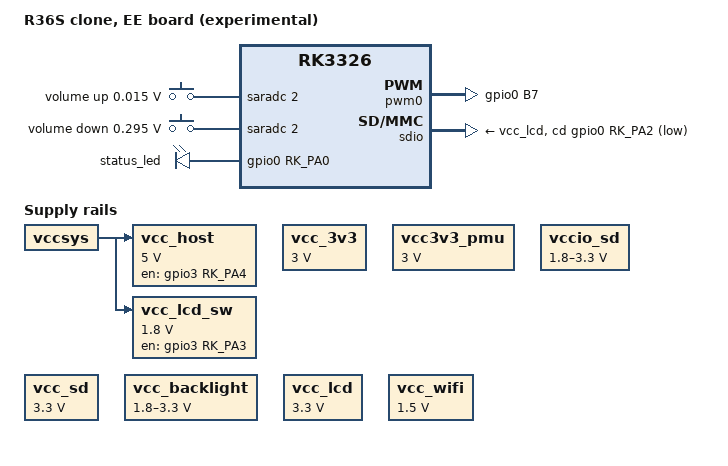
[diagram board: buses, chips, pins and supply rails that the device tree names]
// SPDX-License-Identifier: (GPL-2.0+ OR MIT)
/*
 * EXPERIMENTAL - not tested on hardware by andr36oid.
 *
 * Common part of the "EE clone" R36S boards: the clones that ship with
 * EmuELEC 4.7 (Linux 4.4 BSP) on the card, e.g. G80C/G80CA/G80D, K36,
 * HG36, R36S-V12 "clone" variants, R36S-V20, GR36 / R36 Ultra.
 *
 * The wiring comes from the stock DTBs dumped from these consoles, cross
 * checked with the andr36oid ports by K4uanGP (Andr36oid-dtb-for-Clones)
 * and the ArkOS ports in southoz's dArkOSRE-R36.
 *
 * Board defaults here are the G80 wiring:
 *   analog stick mux enable  GPIO2_B3
 *   LCD reset                GPIO3_D3
 *   LCD power switch         GPIO3_A3
 * rk3326-r36s-clone-ee-k36.dtsi changes these for the K36/HG36 wiring.
 * A board DTS picks one of the two and adds a panel.
 */

#include "rk3326-r36s-android.dtsi"

/* Volume keys are on an ADC ladder (SARADC channel 2), not on GPIOs. */
/delete-node/ &gpio_keys;

/ {
	model = "R36S clone, EE board (experimental)";

	adc-keys {
		compatible = "adc-keys";
		io-channels = <&saradc 2>;
		io-channel-names = "buttons";
		keyup-threshold-microvolt = <1800000>;
		poll-interval = <100>;

		vol-up-key {
			label = "volume up";
			linux,code = <KEY_VOLUMEUP>;
			press-threshold-microvolt = <15000>;
		};

		vol-down-key {
			label = "volume down";
			linux,code = <KEY_VOLUMEDOWN>;
			press-threshold-microvolt = <295000>;
		};
	};

	/* 5 V for the USB host port */
	vcc_host: vcc-host {
		compatible = "regulator-fixed";
		regulator-name = "vcc_host";
		gpio = <&gpio3 RK_PA4 GPIO_ACTIVE_HIGH>;
		enable-active-high;
		regulator-always-on;
		regulator-min-microvolt = <5000000>;
		regulator-max-microvolt = <5000000>;
		vin-supply = <&vccsys>;
	};

	/* LCD logic supply, switched by a GPIO instead of RK817 LDO8 */
	vcc_lcd_sw: vcc-lcd-sw {
		compatible = "regulator-fixed";
		regulator-name = "vcc18_lcd0";
		gpio = <&gpio3 RK_PA3 GPIO_ACTIVE_HIGH>;
		enable-active-high;
		regulator-boot-on;
		regulator-min-microvolt = <1800000>;
		regulator-max-microvolt = <1800000>;
		vin-supply = <&vccsys>;

		regulator-state-mem {
			regulator-off-in-suspend;
		};
	};
};

&joypad {
	/*
	 * No rumble motor, so the gamepad doesn't offer rumble. pwms stays: the
	 * older joypad driver in the resizer and recovery kernels oopses when
	 * it is missing.
	 */
	andr36oid,no-rumble;
	amux-a-gpios = <&gpio2 RK_PC0 GPIO_ACTIVE_LOW>;
	amux-b-gpios = <&gpio2 RK_PB7 GPIO_ACTIVE_LOW>;
	amux-en-gpios = <&gpio2 RK_PB3 GPIO_ACTIVE_LOW>;
	/* the mux channels are wired in a different order than on the R36S */
	amux-channel-mapping = <2 3 1 0>;

	sw1 { gpios = <&gpio3 RK_PC6 GPIO_ACTIVE_LOW>; };	/* up */
	sw2 { gpios = <&gpio3 RK_PC7 GPIO_ACTIVE_LOW>; };	/* down */
	sw3 { gpios = <&gpio3 RK_PC4 GPIO_ACTIVE_LOW>; };	/* left */
	sw4 { gpios = <&gpio3 RK_PC5 GPIO_ACTIVE_LOW>; };	/* right */
	sw5 { gpios = <&gpio3 RK_PC0 GPIO_ACTIVE_LOW>; };	/* A */
	sw6 { gpios = <&gpio3 RK_PC1 GPIO_ACTIVE_LOW>; };	/* B */
	sw7 { gpios = <&gpio3 RK_PC3 GPIO_ACTIVE_LOW>; };	/* Y */
	sw8 { gpios = <&gpio3 RK_PC2 GPIO_ACTIVE_LOW>; };	/* X */
	sw11 { gpios = <&gpio2 RK_PB5 GPIO_ACTIVE_LOW>; };	/* L3 */
	sw12 { gpios = <&gpio2 RK_PB6 GPIO_ACTIVE_LOW>; };	/* R3 */
	sw13 { gpios = <&gpio3 RK_PB2 GPIO_ACTIVE_LOW>; };	/* FN */
	sw15 { gpios = <&gpio3 RK_PB5 GPIO_ACTIVE_LOW>; };	/* L1 */
	sw16 { gpios = <&gpio3 RK_PB3 GPIO_ACTIVE_LOW>; };	/* R1 */
	sw19 { gpios = <&gpio3 RK_PD0 GPIO_ACTIVE_LOW>; };	/* select */
	sw20 { gpios = <&gpio3 RK_PB4 GPIO_ACTIVE_LOW>; };	/* R2 */
	sw21 { gpios = <&gpio3 RK_PB6 GPIO_ACTIVE_LOW>; };	/* L2 */
	sw22 { gpios = <&gpio3 RK_PD1 GPIO_ACTIVE_LOW>; };	/* start */
};

/*
 * No rumble motor on the R36S rumble pin (GPIO0_B7) here, and stock turns
 * PWM0 off. The joypad driver still wants the PWM, so keep it running but
 * leave the pin a plain input.
 */
&pwm0 {
	pinctrl-0 = <&pwm0_pin_unused>;
};

&leds {
	/delete-node/ heartbeat;
	/delete-node/ vibrator;
};

/*
 * Blue on GPIO0_A0, red on GPIO0_C1, both lit is purple, both floating is
 * off (driving them low isn't). Was two gpio-leds on charging triggers.
 * Blue while on, like the green LED of the genuine R36S.
 */
&status_led {
	gpios = <&gpio0 RK_PA0 GPIO_ACTIVE_HIGH>, <&gpio0 RK_PC1 GPIO_ACTIVE_HIGH>;
	color-names = "off", "blue", "red", "purple";
	color-states = <2 2>, <1 2>, <2 1>, <1 1>;
	andr36oid,battery = "11 blue 0 red";
	andr36oid,charging = "red";
	andr36oid,full = "blue";
	/* run by boot.ini, so it is blue from power-on; U-Boot calls GPIO0_A0 a0 */
	andr36oid,u-boot = "gpio set a0";
	status = "okay";
};

&backlight {
	pwms = <&pwm1 0 25000 0>;
	/*
	 * At the lowest brightness the G80's backlight chip didn't always start
	 * again after the screen was off: a 20 ms pulse at 50 % wakes it first.
	 */
	andr36oid,kick-percent = <50>;
	andr36oid,kick-ms = <20>;
};

/*
 * The R36S DT turns on DDR at 786 MHz. The stock firmware of these boards,
 * the dArkOSRE ports and K4uanGP's andr36oid ports all leave it off.
 */
&dmc_opp_table {
	opp-786000000 {
		status = "disabled";
	};
};

&{/rk817-sound} {
	pinctrl-names = "default";
	pinctrl-0 = <&hp_det>;
};

&rk817 {
	charger {
		dc_det_gpio = <&gpio3 RK_PA5 GPIO_ACTIVE_HIGH>;
		/* reads "in" with nothing plugged in: also needs the PMIC to see power */
		andr36oid,dc-det-needs-power;
		/delete-property/ bat_low_gpio;	/* GPIO2_B5 is L3 here */
		max_input_current = <800>;
		max_chrg_current = <800>;
		chrg_finish_cur = <300>;
	};

	battery {
		/*
		 * Stock EmuELEC battery values of the G80 boards (stock DTB
		 * dumped from an R36S clone with Panel 5, E358874, and from the
		 * G30). The ArkOS DTBs for G80C/G80D boards and the dArkOSRE
		 * G80 ports use the same table and capacity.
		 */
		ocv_table = <3400 3445 3502 3552 3598 3637 3679
			3733 3782 3823 3865 3890 3904 3929
			3977 4017 4022 4038 4067 4123 4177>;
		design_capacity = <3124>;
		design_qmax = <3436>;
		bat_res = <119>;
		power_off_thresd = <3400>;
		zero_algorithm_vol = <3850>;
	};

	codec {
		spk-ctl-gpios = <&gpio3 RK_PA7 GPIO_ACTIVE_HIGH>;
	};
};

/* RK817 rails as set up by the stock firmware of these boards */
&vcc_3v3 {
	regulator-name = "vcc_3v0";
	regulator-min-microvolt = <3000000>;
	regulator-max-microvolt = <3000000>;

	regulator-state-mem {
		regulator-suspend-microvolt = <3000000>;
	};
};

&vcc_1v0 {
	regulator-always-on;
	regulator-boot-on;
};

&vcc3v3_pmu {
	regulator-name = "vcc3v0_pmu";
	regulator-min-microvolt = <3000000>;
	regulator-max-microvolt = <3000000>;

	regulator-state-mem {
		regulator-suspend-microvolt = <3000000>;
	};
};

&vccio_sd {
	regulator-min-microvolt = <1800000>;
	regulator-max-microvolt = <3300000>;

	regulator-state-mem {
		regulator-suspend-microvolt = <3300000>;
	};
};

&vcc_sd {
	regulator-min-microvolt = <3300000>;
	regulator-max-microvolt = <3300000>;

	regulator-state-mem {
		regulator-suspend-microvolt = <3300000>;
	};
};

/* LDO7: I/O supply of the second card slot */
&vcc_backlight {
	regulator-name = "vccio_sd2";
	regulator-always-on;
	regulator-boot-on;
	regulator-min-microvolt = <1800000>;
	regulator-max-microvolt = <3300000>;

	regulator-state-mem {
		regulator-on-in-suspend;
		regulator-suspend-microvolt = <3300000>;
	};
};

/* LDO8: card power of the second card slot, not the LCD */
&vcc_lcd {
	regulator-name = "vcc_sd2";
	regulator-always-on;
	regulator-boot-on;
	regulator-min-microvolt = <3300000>;
	regulator-max-microvolt = <3300000>;

	regulator-state-mem {
		regulator-on-in-suspend;
		regulator-suspend-microvolt = <3300000>;
	};
};

/* LDO9 is a 1.5 V rail on these boards, never 3.3 V */
&vcc_wifi {
	regulator-name = "vdd1v5_dvp";
	regulator-min-microvolt = <1500000>;
	regulator-max-microvolt = <1500000>;

	regulator-state-mem {
		regulator-suspend-microvolt = <1500000>;
	};
};

&io_domains {
	vccio1-supply = <&vcc_backlight>;
	vccio2-supply = <&vccio_sd>;
	vccio3-supply = <&vcc1v8_soc>;
	vccio4-supply = <&vcc_3v3>;
	vccio5-supply = <&vcc_3v3>;
	vccio6-supply = <&vcc1v8_soc>;
};

&sdio {
	cd-gpios = <&gpio0 RK_PA2 GPIO_ACTIVE_LOW>;
	vmmc-supply = <&vcc_lcd>;
	vqmmc-supply = <&vcc_backlight>;
	/* LDO7 can switch to 1.8 V here, so UHS works */
	/delete-property/ no-1-8-v;
	sd-uhs-sdr12;
	sd-uhs-sdr25;
	sd-uhs-sdr50;
	sd-uhs-sdr104;
};

&dsi {
	panel@0 {
		reset-gpios = <&gpio3 RK_PD3 GPIO_ACTIVE_LOW>;
		power-supply = <&vcc_lcd_sw>;
	};
};

&pmic_int {
	rockchip,pins = <0 RK_PB2 RK_FUNC_GPIO &pcfg_pull_up>;
};

/*
 * GPIO2_B4 is the stick mux enable on K36-type and V12 variant 2 boards. Our
 * U-Boot leaves it switched to UART2 TX (idle high, so the mux stays off) and
 * the GPIO driver does not switch it back, so set it to GPIO here. Unused on
 * the other EE boards.
 */
&btn_pins {
	rockchip,pins =
		<2 RK_PB4 RK_FUNC_GPIO &pcfg_pull_none>,
		<2 RK_PB5 RK_FUNC_GPIO &pcfg_pull_up>,
		<2 RK_PB6 RK_FUNC_GPIO &pcfg_pull_up>,
		<3 RK_PB2 RK_FUNC_GPIO &pcfg_pull_up>,
		<3 RK_PB3 RK_FUNC_GPIO &pcfg_pull_up>,
		<3 RK_PB4 RK_FUNC_GPIO &pcfg_pull_up>,
		<3 RK_PB5 RK_FUNC_GPIO &pcfg_pull_up>,
		<3 RK_PB6 RK_FUNC_GPIO &pcfg_pull_up>,
		<3 RK_PC0 RK_FUNC_GPIO &pcfg_pull_up>,
		<3 RK_PC1 RK_FUNC_GPIO &pcfg_pull_up>,
		<3 RK_PC2 RK_FUNC_GPIO &pcfg_pull_up>,
		<3 RK_PC3 RK_FUNC_GPIO &pcfg_pull_up>,
		<3 RK_PC4 RK_FUNC_GPIO &pcfg_pull_up>,
		<3 RK_PC5 RK_FUNC_GPIO &pcfg_pull_up>,
		<3 RK_PC6 RK_FUNC_GPIO &pcfg_pull_up>,
		<3 RK_PC7 RK_FUNC_GPIO &pcfg_pull_up>,
		<3 RK_PD0 RK_FUNC_GPIO &pcfg_pull_up>,
		<3 RK_PD1 RK_FUNC_GPIO &pcfg_pull_up>;
};

&led_pins {
	rockchip,pins =
		<0 RK_PA0 RK_FUNC_GPIO &pcfg_pull_none>,
		<0 RK_PC1 RK_FUNC_GPIO &pcfg_pull_none>;
};

&pinctrl {
	clone-ee {
		hp_det: hp-det {
			rockchip,pins = <2 RK_PC6 RK_FUNC_GPIO &pcfg_pull_up>;
		};

		pwm0_pin_unused: pwm0-pin-unused {
			rockchip,pins = <0 RK_PB7 RK_FUNC_GPIO &pcfg_pull_none>;
		};
	};
};

/*
 * The R36S debug UART (UART2 on pins M1) uses GPIO2_B4 and GPIO2_B6. On these
 * boards GPIO2_B6 is a button (and GPIO2_B4 the stick mux enable on K36), so
 * the joypad could not claim its pins and no button worked. The debug console
 * moves to UART5 (GPIO3_A1/A2) instead, like the stock firmware and dArkOS.
 */
&uart2 {
	status = "disabled";
};

&{/fiq-debugger} {
	rockchip,serial-id = <5>;
	pinctrl-0 = <&uart5_xfer>;
};
